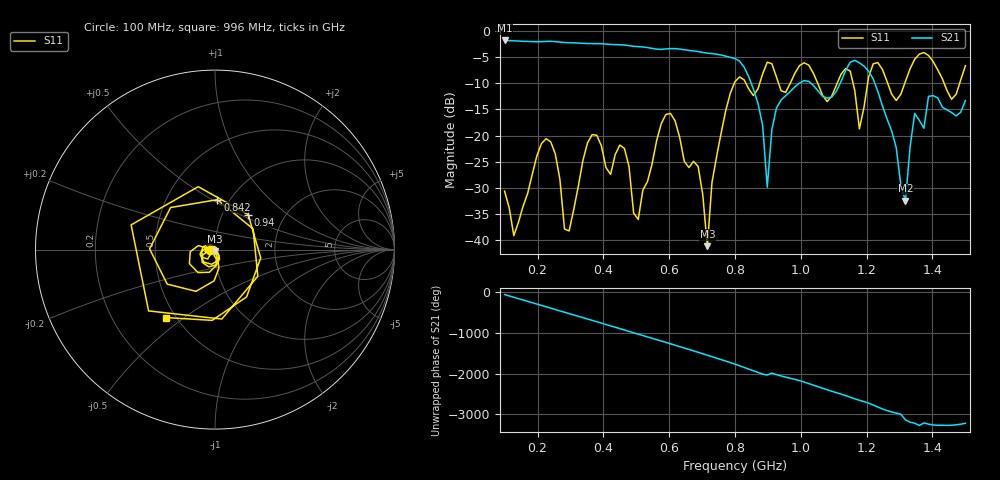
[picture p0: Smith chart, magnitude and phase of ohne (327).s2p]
! NanoVNA-App
! Date: 2025-09-25 14:23:20
! Start: 100MHz Stop: 1,5GHz Points: 101
! S-Parameter data: F S11 S21 S12 S22
# Hz S RI R 50
!  Frequency  S11_Real  S11_Imag  S21_Real  S21_Imag  S12_Real  S12_Imag  S22_Real  S22_Imag
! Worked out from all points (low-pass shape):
!   101 points, 100 MHz to 1.5 GHz, reference 50 ohm
!   highest |S21| = -1.79 dB at 100 MHz (marker M1); lowest = -32.5 dB at 1.318 GHz (marker M2)
!   |S21| within 3 dB of the highest: start of sweep to 771.2 MHz
!   lowest |S11| = -41.2 dB at 716 MHz (marker M3), VSWR 1.02, Z = 49.9 - j0.861 ohm
!   |S11| at or under -10 dB: start of sweep to 797.9 MHz; 833.2 MHz to 875.1 MHz (41.89 MHz wide, 4.9 % of centre); 1.051 GHz to 1.11 GHz (58.97 MHz wide, 5.46 % of centre) (the widest 3 of 7)
!   S12 and S22 are empty: the file has one direction only
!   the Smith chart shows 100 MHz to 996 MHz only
!   S11 on the Smith chart (normalised r, x): 100 MHz: 0.94, -0.01; 842 MHz: 0.88, +0.53; 940 MHz: 1.32, +0.56; 996 MHz: 0.44, -0.43
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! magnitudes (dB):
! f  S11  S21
! 100 MHz  -30.6  -1.8
! 128 MHz  -39.1  -1.9
! 226 MHz  -20.6  -2.0
! 296 MHz  -38.2  -2.2
! 338 MHz  -24.7  -2.3
! 464 MHz  -22.5  -2.7
! 506 MHz  -36.1  -3.0
! 576 MHz  -17.7  -3.5
! 688 MHz  -25.9  -3.9
! 716 MHz  -41.2  -4.2
! 800 MHz  -9.7  -5.2
! 842 MHz  -11.1  -8.8
! 898 MHz  -6.0  -29.9
! 940 MHz  -11.4  -13.2
! 996 MHz  -6.6  -9.9
! 1.038 GHz  -8.1  -10.4
! 1.178 GHz  -18.7  -6.1
! 1.22 GHz  -6.2  -9.2
! 1.276 GHz  -12.1  -19.1
! 1.318 GHz  -9.6  -32.5
! 1.346 GHz  -5.4  -15.8
! 1.5 GHz  -6.6  -13.3
